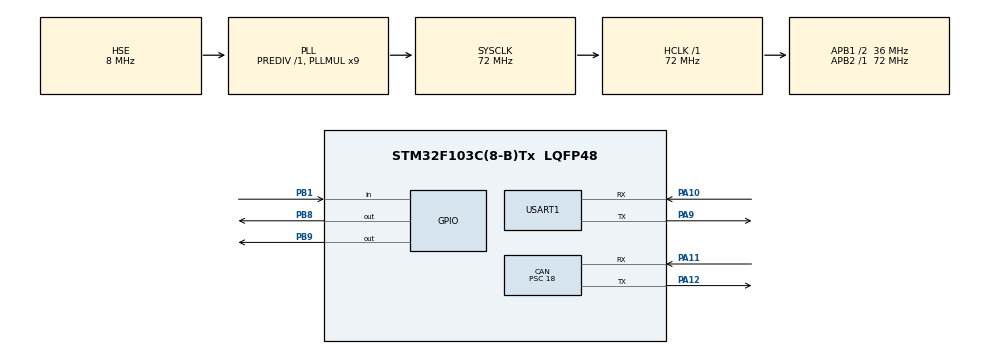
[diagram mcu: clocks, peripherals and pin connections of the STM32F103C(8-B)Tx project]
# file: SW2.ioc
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CAN.BS1=CAN_BS1_11TQ
CAN.BS2=CAN_BS2_4TQ
CAN.CalculateBaudRate=125000
CAN.CalculateTimeBit=8000
CAN.CalculateTimeQuantum=500.0
CAN.Mode=CAN_MODE_NORMAL
CAN.Prescaler=18
Mcu.Family=STM32F1
Mcu.Name=STM32F103C(8-B)Tx
Mcu.Package=LQFP48
NVIC.PriorityGroup=NVIC_PRIORITYGROUP_4
NVIC.TIM2_IRQn=true\:0\:0\:false\:false\:true\:true\:true\:true
NVIC.USART1_IRQn=true\:0\:0\:false\:false\:true\:true\:true\:true
NVIC.USB_HP_CAN1_TX_IRQn=true\:0\:0\:false\:false\:true\:true\:true\:true
PA10.Mode=Asynchronous
PA10.Signal=USART1_RX
PA11.Mode=CAN_Activate
PA11.Signal=CAN_RX
PA12.Mode=CAN_Activate
PA12.Signal=CAN_TX
PA13.Mode=Serial_Wire
PA13.Signal=SYS_JTMS-SWDIO
PA14.Mode=Serial_Wire
PA14.Signal=SYS_JTCK-SWCLK
PA9.Mode=Asynchronous
PA9.Signal=USART1_TX
PB1.GPIO_Mode=GPIO_MODE_INPUT
PB1.GPIO_PuPd=GPIO_PULLUP
PB1.Signal=GPIO_Input
PB8.GPIO_ModeDefaultOutputPP=GPIO_MODE_OUTPUT_OD
PB8.GPIO_PuPd=GPIO_NOPULL
PB8.GPIO_Speed=GPIO_SPEED_FREQ_HIGH
PB8.PinState=GPIO_PIN_SET
PB8.Signal=GPIO_Output
PB9.GPIO_ModeDefaultOutputPP=GPIO_MODE_OUTPUT_OD
PB9.GPIO_PuPd=GPIO_NOPULL
PB9.GPIO_Speed=GPIO_SPEED_FREQ_HIGH
PB9.PinState=GPIO_PIN_SET
PB9.Signal=GPIO_Output
PD0-OSC_IN.Mode=HSE-External-Oscillator
PD0-OSC_IN.Signal=RCC_OSC_IN
PD1-OSC_OUT.Mode=HSE-External-Oscillator
PD1-OSC_OUT.Signal=RCC_OSC_OUT
ProjectManager.HeapSize=0x200
ProjectManager.StackSize=0x400
ProjectManager.TargetToolchain=MDK-ARM V5.32
RCC.AHBFreq_Value=72000000
RCC.APB1CLKDivider=RCC_HCLK_DIV2
RCC.APB1Freq_Value=36000000
RCC.APB1TimFreq_Value=72000000
RCC.APB2Freq_Value=72000000
RCC.APB2TimFreq_Value=72000000
RCC.HCLKFreq_Value=72000000
RCC.PLLMUL=RCC_PLL_MUL9
RCC.PLLSourceVirtual=RCC_PLLSOURCE_HSE
RCC.SYSCLKFreq_VALUE=72000000
RCC.SYSCLKSource=RCC_SYSCLKSOURCE_PLLCLK
RCC.USBFreq_Value=72000000
TIM2.Period=3
TIM2.Prescaler=20000
USART1.VirtualMode=VM_ASYNC
VP_TIM2_VS_ClockSourceINT.Mode=Internal
board=custom

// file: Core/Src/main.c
/* USER CODE BEGIN Header */
/**
  ******************************************************************************
  * @file           : main.c
  * @brief          : Main program body
  ******************************************************************************
  * @attention
  *
  * Copyright (c) 2026 STMicroelectronics.
  * All rights reserved.
  *
  * This software is licensed under terms that can be found in the LICENSE file
  * in the root directory of this software component.
  * If no LICENSE file comes with this software, it is provided AS-IS.
  *
  ******************************************************************************
  */
/* USER CODE END Header */
#include "main.h"
#include "can.h"
#include "tim.h"
#include "usart.h"
#include "gpio.h"

/* USER CODE BEGIN Includes */
#include "string.h"
#include "OLED.h"
#include "mycan.h"
#include "Key.h"
/* USER CODE END Includes */

/* USER CODE BEGIN PTD */
#define CH_COUNT 1
typedef struct
{
    float fdata[CH_COUNT];
    unsigned char tail[4];
} Frame;
/* USER CODE END PTD */

void SystemClock_Config(void);
/* USER CODE BEGIN PFP */
static const uint8_t FRAME_TAIL[4] = {0x00, 0x00, 0x80, 0x7f};
/* USER CODE END PFP */

/* USER CODE BEGIN 0 */
int Keynum=0;
uint32_t TxID=0x555;
uint8_t Txlength=4;
uint8_t TxData[8]={0x01,0x02,0x03,0x04};

uint32_t RxID;
uint8_t Rxlength;
uint8_t RxData[8];

/**
  * @brief  上传数据到VOFA+
  * @param  传输的数据
  * @retval 无
  */
void Send_JustFloat(uint8_t val)
{
    Frame frame_data;
    frame_data.fdata[0]=val;
    //拷贝帧尾
    memcpy(frame_data.tail, FRAME_TAIL, 4);
    HAL_UART_Transmit(&huart1, (uint8_t *)&frame_data, sizeof(Frame), 10);
}
/* USER CODE END 0 */

int main(void)
{

  /* MCU Configuration--------------------------------------------------------*/

  /* Reset of all peripherals, Initializes the Flash interface and the Systick. */
  HAL_Init();

  /* Configure the system clock */
  SystemClock_Config();

  /* Initialize all configured peripherals */
  MX_GPIO_Init();
  MX_CAN_Init();
  MX_TIM2_Init();
  MX_USART1_UART_Init();
  /* USER CODE BEGIN 2 */
  OLED_Init();
  mycan_Init();
  Key_Init();

  OLED_ShowString(1, 1, "TxID:");
  OLED_ShowHexNum(1, 6, TxID, 3);
  OLED_ShowString(1,10,"Key:");
  OLED_ShowString(2, 1, "RxID:");
  OLED_ShowString(3, 1, "Rxlength:");
  OLED_ShowString(4, 1, "Data:");

  /* USER CODE END 2 */

  /* Infinite loop */
  while (1)
  {

    /* USER CODE BEGIN 3 */
    if(mycan_ReceiveFlag()>0)
    {
      mycan_Receive(&RxID, &Rxlength, RxData);

			OLED_ShowHexNum(2, 6, RxID, 3);
			OLED_ShowHexNum(3, 11, Rxlength, 1);
			OLED_ShowHexNum(4, 6, RxData[0], 2);
			OLED_ShowHexNum(4, 9, RxData[1], 2);
			OLED_ShowHexNum(4, 12, RxData[2], 2);
			OLED_ShowHexNum(4, 15, RxData[3], 2);

      Send_JustFloat(RxData[0]);
    }

    if(Key_Get()==1)
    {
      Keynum=Keynum+1;
      mycan_SendData(TxID,Txlength,TxData);
    }
    OLED_ShowNum(1,14,Keynum,2);
  }
  /* USER CODE END 3 */
}

void SystemClock_Config(void)
{
  RCC_OscInitTypeDef RCC_OscInitStruct = {0};
  RCC_ClkInitTypeDef RCC_ClkInitStruct = {0};

  /** Initializes the RCC Oscillators according to the specified parameters
  * in the RCC_OscInitTypeDef structure.
  */
  RCC_OscInitStruct.OscillatorType = RCC_OSCILLATORTYPE_HSE;
  RCC_OscInitStruct.HSEState = RCC_HSE_ON;
  RCC_OscInitStruct.HSEPredivValue = RCC_HSE_PREDIV_DIV1;
  RCC_OscInitStruct.HSIState = RCC_HSI_ON;
  RCC_OscInitStruct.PLL.PLLState = RCC_PLL_ON;
  RCC_OscInitStruct.PLL.PLLSource = RCC_PLLSOURCE_HSE;
  RCC_OscInitStruct.PLL.PLLMUL = RCC_PLL_MUL9;
  if (HAL_RCC_OscConfig(&RCC_OscInitStruct) != HAL_OK)
  {
    Error_Handler();
  }

  /** Initializes the CPU, AHB and APB buses clocks
  */
  RCC_ClkInitStruct.ClockType = RCC_CLOCKTYPE_HCLK|RCC_CLOCKTYPE_SYSCLK
                              |RCC_CLOCKTYPE_PCLK1|RCC_CLOCKTYPE_PCLK2;
  RCC_ClkInitStruct.SYSCLKSource = RCC_SYSCLKSOURCE_PLLCLK;
  RCC_ClkInitStruct.AHBCLKDivider = RCC_SYSCLK_DIV1;
  RCC_ClkInitStruct.APB1CLKDivider = RCC_HCLK_DIV2;
  RCC_ClkInitStruct.APB2CLKDivider = RCC_HCLK_DIV1;

  if (HAL_RCC_ClockConfig(&RCC_ClkInitStruct, FLASH_LATENCY_2) != HAL_OK)
  {
    Error_Handler();
  }
}

void Error_Handler(void)
{
  __disable_irq();
  while (1)
  {
  }
}
